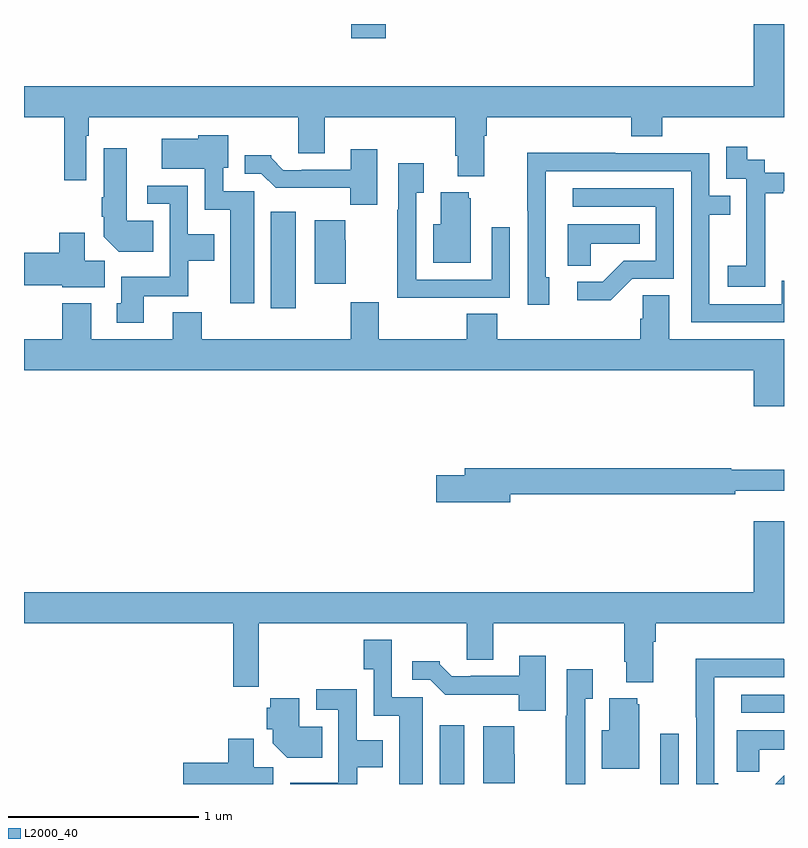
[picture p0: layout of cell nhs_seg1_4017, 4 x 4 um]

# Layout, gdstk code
import gdstk
lib = gdstk.Library(unit=1e-6, precision=1e-09)
def R(c, l, rs):  # rectangles x0, y0, x1, y1
    for r in rs: c.add(gdstk.rectangle(r[:2], r[2:], *l))
def P(c, l, *ps):  # polygons
    for p in ps: c.add(gdstk.Polygon(p, *l))
L2000_40 = (2000, 40)

nhs_seg1_4017 = lib.new_cell('nhs_seg1_4017')
R(nhs_seg1_4017, L2000_40, [(331.187,572.199,331.318,572.509), (332.349,572.199,332.445,572.464), (332.775,572.574,333,572.67), (330.299,574.704,330.43,575.212), (330.722,576.123,330.905,576.199)])
P(nhs_seg1_4017, L2000_40, [(329.328,575.612),(329.341,575.612),(329.341,575.708),(330.443,575.708),(330.443,575.518),(330.583,575.518),(330.583,575.708),(331.271,575.708),(331.271,575.506),(331.283,575.506),(331.283,575.399),(331.423,575.399),(331.423,575.612),(331.436,575.612),(331.436,575.708),(332.195,575.708),(332.195,575.609),(332.36,575.609),(332.36,575.708),(333,575.708),(333,576.199),(332.84,576.199),(332.84,575.872),(329,575.872),(329,575.708),(329.212,575.708),(329.212,575.376),(329.328,575.376)],
  [(330.211,575.319),(330.048,575.319),(330.048,575.442),(330.076,575.442),(330.076,575.614),(329.916,575.614),(329.916,575.596),(329.724,575.596),(329.724,575.438),(329.952,575.438),(329.952,575.222),(330.086,575.222),(330.086,574.728),(330.211,574.728)],
  [(332.901,575.023),(332.9,575.023),(332.9,575.307),(332.995,575.307),(332.995,575.319),(333,575.319),(333,575.415),(332.898,575.415),(332.898,575.484),(332.806,575.484),(332.806,575.554),(332.697,575.554),(332.697,575.385),(332.802,575.385),(332.802,575.156),(332.801,575.156),(332.801,574.927),(332.703,574.927),(332.703,574.817),(332.901,574.817)],
  [(329.681,575.164),(329.542,575.164),(329.542,575.545),(329.42,575.545),(329.42,575.288),(329.408,575.288),(329.408,575.185),(329.42,575.185),(329.42,575.078),(329.498,575),(329.681,575)],
  [(330.859,575.539),(330.719,575.539),(330.719,575.433),(330.463,575.433),(330.463,575.43),(330.364,575.43),(330.3,575.494),(330.3,575.509),(330.161,575.509),(330.161,575.412),(330.249,575.412),(330.325,575.336),(330.717,575.336),(330.717,575.249),(330.859,575.249)],
  [(333,574.848),(332.988,574.848),(332.988,574.725),(332.607,574.725),(332.607,575.194),(332.717,575.194),(332.717,575.295),(332.607,575.295),(332.607,575.52),(332.111,575.52),(332.111,575.522),(331.648,575.522),(331.648,575.215),(331.65,575.215),(331.65,574.722),(331.765,574.722),(331.765,574.866),(331.746,574.866),(331.746,575.424),(332.511,575.424),(332.511,574.629),(333,574.629)],
  [(331.241,574.758),(331.557,574.758),(331.557,575.128),(331.461,575.128),(331.461,574.854),(331.065,574.854),(331.065,575.311),(331.105,575.311),(331.105,575.467),(330.969,575.467),(330.969,575.222),(330.964,575.222),(330.964,574.757),(331.241,574.757)],
  [(329.629,574.766),(329.865,574.766),(329.865,574.952),(330.001,574.952),(330.001,575.092),(329.862,575.092),(329.862,575.349),(329.649,575.349),(329.649,575.253),(329.766,575.253),(329.766,574.87),(329.513,574.87),(329.513,574.728),(329.489,574.728),(329.489,574.626),(329.629,574.626)],
  [(332.202,574.857),(332.421,574.857),(332.421,575.334),(331.887,575.334),(331.887,575.238),(332.325,575.238),(332.325,574.953),(332.156,574.953),(332.045,574.842),(331.911,574.842),(331.911,574.745),(332.089,574.745)],
  [(331.351,575.283),(331.34,575.283),(331.34,575.314),(331.193,575.314),(331.193,575.146),(331.154,575.146),(331.154,574.943),(331.351,574.943)],
  [(330.694,575.06),(330.692,575.06),(330.692,575.167),(330.53,575.167),(330.53,574.833),(330.694,574.833)],
  [(331.983,575.042),(332.24,575.042),(332.24,575.146),(331.862,575.146),(331.862,574.927),(331.983,574.927)],
  [(329.425,574.952),(329.32,574.952),(329.32,575.101),(329.186,575.101),(329.186,574.994),(329,574.994),(329,574.823),(329.202,574.823),(329.202,574.814),(329.425,574.814)],
  [(333,574.54),(332.395,574.54),(332.395,574.772),(332.256,574.772),(332.256,574.649),(332.243,574.649),(332.243,574.54),(331.49,574.54),(331.49,574.673),(331.33,574.673),(331.33,574.54),(330.867,574.54),(330.867,574.735),(330.719,574.735),(330.719,574.54),(329.936,574.54),(329.936,574.681),(329.783,574.681),(329.783,574.54),(329.353,574.54),(329.353,574.729),(329.201,574.729),(329.201,574.54),(329,574.54),(329,574.376),(332.84,574.376),(332.84,574.188),(333,574.188)],
  [(331.558,573.724),(332.744,573.724),(332.744,573.743),(333,573.743),(333,573.853),(332.723,573.853),(332.723,573.86),(331.319,573.86),(331.319,573.824),(331.17,573.824),(331.17,573.682),(331.558,573.682)],
  [(330.236,573.044),(331.331,573.044),(331.331,572.854),(331.471,572.854),(331.471,573.044),(332.159,573.044),(332.159,572.842),(332.171,572.842),(332.171,572.735),(332.311,572.735),(332.311,572.948),(332.324,572.948),(332.324,573.044),(333,573.044),(333,573.583),(332.84,573.583),(332.84,573.208),(329,573.208),(329,573.044),(330.1,573.044),(330.1,572.712),(330.236,572.712)],
  [(331.099,572.655),(330.936,572.655),(330.936,572.959),(330.788,572.959),(330.788,572.803),(330.84,572.803),(330.84,572.558),(330.974,572.558),(330.974,572.199),(331.099,572.199)],
  [(331.747,572.875),(331.607,572.875),(331.607,572.769),(331.351,572.769),(331.351,572.766),(331.252,572.766),(331.188,572.83),(331.188,572.845),(331.044,572.845),(331.044,572.748),(331.137,572.748),(331.216,572.67),(331.605,572.67),(331.605,572.585),(331.747,572.585)],
  [(332.653,572.202),(332.634,572.202),(332.634,572.76),(333,572.76),(333,572.856),(332.999,572.856),(332.999,572.858),(332.536,572.858),(332.536,572.551),(332.538,572.551),(332.538,572.199),(332.653,572.199)],
  [(331.953,572.647),(331.993,572.647),(331.993,572.803),(331.857,572.803),(331.857,572.558),(331.852,572.558),(331.852,572.199),(331.953,572.199)],
  [(330.753,572.288),(330.889,572.288),(330.889,572.428),(330.75,572.428),(330.75,572.698),(330.537,572.698),(330.537,572.589),(330.654,572.589),(330.654,572.206),(330.401,572.206),(330.401,572.199),(330.753,572.199)],
  [(332.239,572.619),(332.228,572.619),(332.228,572.65),(332.081,572.65),(332.081,572.482),(332.042,572.482),(332.042,572.279),(332.239,572.279)],
  [(330.569,572.5),(330.448,572.5),(330.448,572.65),(330.296,572.65),(330.296,572.601),(330.278,572.601),(330.278,572.487),(330.308,572.487),(330.308,572.414),(330.386,572.336),(330.569,572.336)],
  [(331.582,572.355),(331.58,572.355),(331.58,572.503),(331.418,572.503),(331.418,572.202),(331.582,572.202)],
  [(332.871,572.378),(333,572.378),(333,572.482),(332.75,572.482),(332.75,572.263),(332.871,572.263)],
  [(330.313,572.288),(330.208,572.288),(330.208,572.437),(330.074,572.437),(330.074,572.312),(329.838,572.312),(329.838,572.199),(330.313,572.199)],
  [(333,572.245),(332.954,572.199),(333,572.199)])

lib.write_gds('nhs_seg1_4017.gds')
